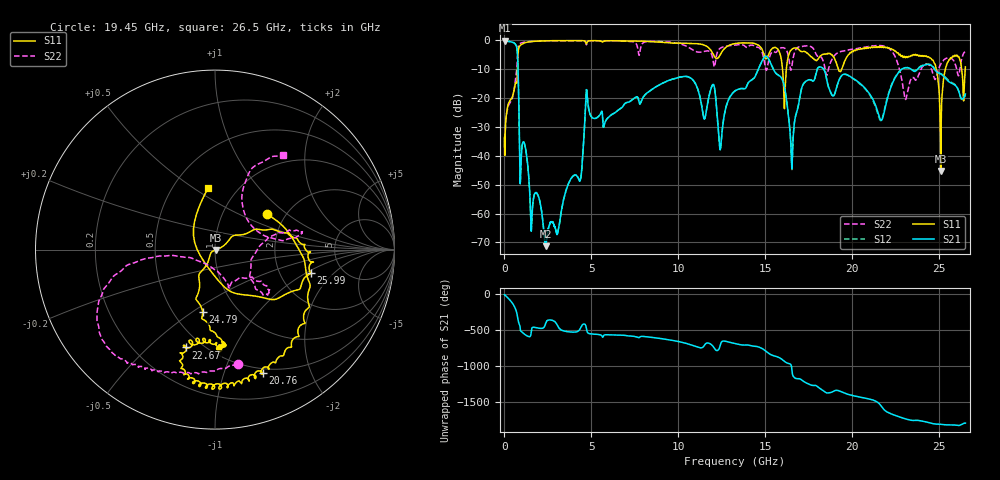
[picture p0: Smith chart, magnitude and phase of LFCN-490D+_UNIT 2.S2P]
!Created: 10-16-2013 at 09:11:33
!Mini-Circuits
!S2P DATA File Format
!Type: LOW PASS FILTER
!MODEL: LFCN-490D+
!S/N: Unit 2
!PIN OUT: PORT 1 - PIN 1, PORT 2 - PIN 3, GROUND - PIN 2,4
!TEST CONDITIONS: Z:50 OHM SYSTEM, INPUT POWER = -10dBm
!PROD RUN: MDC0070 DATE CODE: 1311
!REMARK: UNITS MOUNTED ON TB-270 RUN#MN43610 D/C 1336. PORT EXTENSION HAS BEEN DONE.
!TESTED ON: NETWORK ANALYZER MODEL AG N5242A S/N 71932 CAL DUE DATE 3/15/14
# MHZ S DB R 50
!Frequency  S11 dB  S11 DEG  S21 dB  S21 DEG  S12 dB  S12 DEG  S22 dB  S22 DEG
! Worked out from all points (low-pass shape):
!   4441 points, 10 MHz to 26.5 GHz, reference 50 ohm
!   highest |S21| = -0.14 dB at 15 MHz (marker M1); lowest = -71.3 dB at 2.365 GHz (marker M2)
!   |S21| within 3 dB of the highest: start of sweep to 725.8 MHz
!   lowest |S11| = -45.2 dB at 25.09 GHz (marker M3), VSWR 1.01, Z = 50.5 - j0.143 ohm
!   |S11| at or under -10 dB: start of sweep to 750.5 MHz; 15.99 GHz to 16.21 GHz (220.3 MHz wide, 1.37 % of centre); 24.82 GHz to 25.35 GHz (526.8 MHz wide, 2.1 % of centre)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
!   |S22| runs from -39.7 to -0.2 dB; largest |S21 - S12| = 0.014
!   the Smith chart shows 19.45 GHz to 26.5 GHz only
!   S11 on the Smith chart (normalised r, x): 19.45 GHz: 1.60, +0.73; 20.76 GHz: 0.45, -1.36; 22.67 GHz: 0.41, -0.66; 24.79 GHz: 0.69, -0.55; 25.99 GHz: 2.97, -1.10; 26.5 GHz: 0.74, +0.58
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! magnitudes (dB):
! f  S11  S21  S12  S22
! 10 MHz  -37.3  -0.2  -0.2  -39.7
! 15 MHz  -35.4  -0.1  -0.1  -36.4
! 702 MHz  -14.8  -2.3  -2.3  -10.3
! 824 MHz  -2.8  -20.9  -20.9  -1.6
! 910 MHz  -1.8  -49.7  -49.7  -1.1
! 1.145 GHz  -1.0  -35.7  -35.7  -0.7
! 2.365 GHz  -0.2  -71.3  -71.0  -0.3
! 4.425 GHz  -0.1  -46.1  -46.1  -0.2
! 4.75 GHz  -0.7  -18.7  -18.6  -0.9
! 8.84 GHz  -0.6  -15.7  -15.7  -0.4
! 13.26 GHz  -1.1  -17.6  -17.5  -1.6
! 15.11 GHz  -6.1  -5.8  -5.8  -9.5
! 16.55 GHz  -3.0  -41.1  -41.4  -7.9
! 17.67 GHz  -5.8  -13.9  -13.9  -2.4
! 19.45 GHz  -9.1  -11.9  -12.0  -3.7
! 20.76 GHz  -2.7  -16.8  -17.0  -2.4
! 22.09 GHz  -2.7  -18.6  -18.2  -2.8
! 22.67 GHz  -4.9  -11.1  -11.0  -9.2
! 24.79 GHz  -9.1  -10.6  -10.3  -13.2
! 25.09 GHz  -45.2  -11.7  -11.6  -8.3
! 25.99 GHz  -5.2  -16.1  -15.9  -9.8
! 26.5 GHz  -9.2  -18.6  -19.0  -3.8
